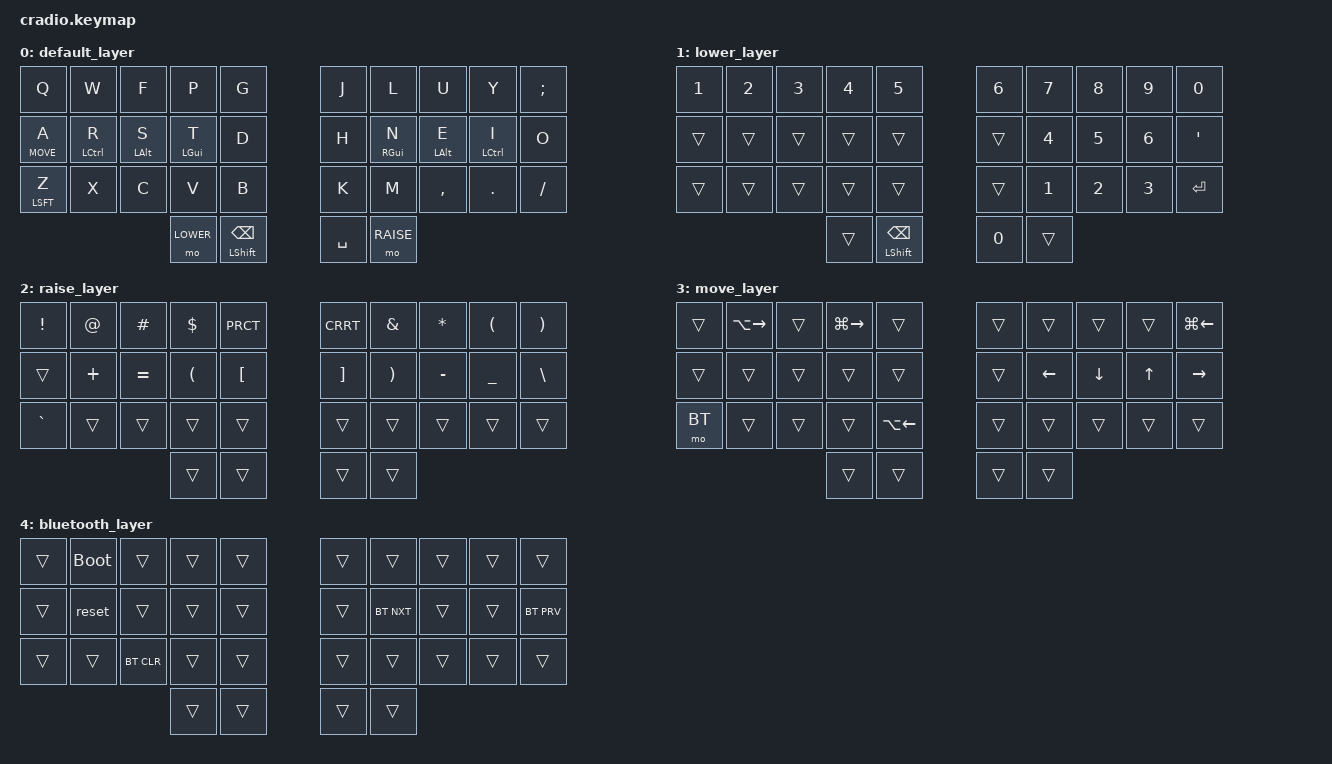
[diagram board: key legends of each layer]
/*
 * Copyright (c) 2020 The ZMK Contributors
 *
 * SPDX-License-Identifier: MIT
 */

#include <behaviors.dtsi>
#include <dt-bindings/zmk/keys.h>
#include <dt-bindings/zmk/bt.h>

#define DEFAULT 0
#define LOWER   1
#define RAISE   2
#define MOVE    3
#define BT      4


&mt {
  //  flavor = "tap-preferred";
   // tapping_term_ms = <200>;
};

/ { 
    combos {
        compatible = "zmk,combos";
        combo_esc {
            timeout-ms = <50>;
            key-positions = <0 1>;
            layers = <1>;
            bindings = <&kp ESC>;
        };
        
        combo_tab {
            timeout-ms = <50>;
            key-positions = <0 1>;
            layers = <0>;
            bindings = <&kp TAB>;
        };
        
        combo_bspc {
            timeout-ms = <50>;
            key-positions = <8 9>;
            bindings = <&kp BACKSPACE>;
        };
        
        combo_hash {
            timeout-ms = <50>;
            key-positions = <0 1>;
            layers = <2>;
            bindings = <&kp LA(NUMBER_3)>;
        };
                
    };

    behaviors {
        hm: homerow_mods {
            compatible = "zmk,behavior-hold-tap";
            label = "HOMEROW_MODS";
            #binding-cells = <2>;
            tapping-term-ms = <200>;
            quick_tap_ms = <0>;
            flavor = "tap-preferred";
            bindings = <&kp>, <&kp>;
        };
    };

    keymap {
		compatible = "zmk,keymap";
		default_layer {
			bindings = <
				&kp Q      &kp W       &kp F      &kp P      &kp G              &kp J &kp L      &kp U      &kp Y       &kp SEMICOLON 
				&lt MOVE A &hm LCTRL R &hm LALT S &hm LGUI T &kp D              &kp H &hm RGUI N &hm LALT E &hm LCTRL I &kp O
				&mt LSFT Z &kp X       &kp C      &kp V      &kp B              &kp K &kp M      &kp CMMA   &kp DOT     &kp SLASH
			      	                     &mo LOWER &mt LSHIFT BSPC              &kp SPC &mo RAISE 
			>;
		};

   		lower_layer {
			bindings = <
				&kp N1    &kp N2    &kp N3    &kp N4    &kp N5                  &kp N6 &kp N7    &kp N8    &kp N9    &kp N0 
				&trans    &trans    &trans    &trans    &trans                  &trans &kp N4 &kp N5 &kp N6 &kp SINGLE_QUOTE
				&trans    &trans    &trans    &trans    &trans                  &trans &kp N1 &kp N2 &kp N3 &kp ENTER
 			                        &trans &mt LSHIFT BSPC                      &kp N0 &trans 
			>;
		};
	
		raise_layer {
			bindings = <
				&kp EXCL  &kp AT   &kp HASH  &kp DLLR &kp PRCT                  &kp CRRT &kp AMPS &kp ASTRK &kp LPRN  &kp RPRN 
				&trans    &kp PLUS &kp EQUAL &kp LPRN &kp LBKT                  &kp RBKT &kp RPRN &kp MINUS &kp UNDER &kp BSLH
				&kp GRAVE &trans   &trans    &trans   &trans                    &trans   &trans   &trans    &trans    &trans
							                 &trans   &trans                    &trans   &trans
				>;
		};	
		
		move_layer {
			bindings = <
				&trans &kp LA(RIGHT) &trans &kp LG(RIGHT) &trans                &trans &trans   &trans   &trans &kp LG(LEFT)
				&trans &trans        &trans &trans        &trans                &trans &kp LEFT &kp DOWN &kp UP &kp RIGHT
				&mo BT &trans        &trans &trans        &kp LA(LEFT)          &trans &trans   &trans   &trans &trans
						                    &trans        &trans                &trans &trans 
				>;
		};	

        bluetooth_layer {
            bindings = <
                &trans &bootloader   &trans     &trans        &trans                &trans &trans     &trans   &trans &trans
                &trans &reset        &trans     &trans        &trans                &trans &bt BT_NXT &trans   &trans &bt BT_PRV
                &trans &trans        &bt BT_CLR &trans        &trans                &trans &trans     &trans   &trans &trans
                                                &trans        &trans                &trans &trans 
                >;
        };  
        
	};
};
